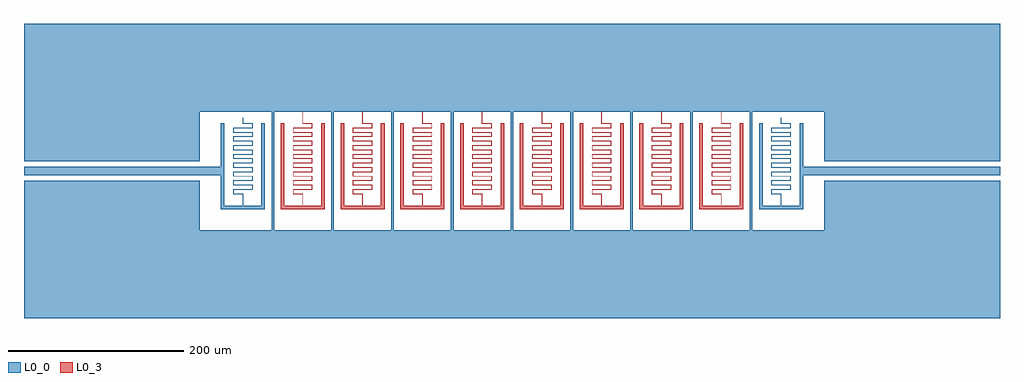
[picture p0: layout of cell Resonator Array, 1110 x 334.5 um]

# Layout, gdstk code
import gdstk
lib = gdstk.Library(unit=1e-6, precision=1e-09)
def P(c, l, *ps):  # polygons
    for p in ps: c.add(gdstk.Polygon(p, *l))
L0_0 = (0, 0)
L0_3 = (0, 3)

resonator_array = lib.new_cell('Resonator Array')
P(resonator_array, L0_0, [(793,32.25),(593,32.25),(593,-24),(511.5,-24),(511.5,110.5),(593,110.5),(593,54.25),(793,54.25),(793,210.5),(-317,210.5),(-317,54.25),(-117,54.25),(-117,110.5),(-35.5,110.5),(-35.5,-24),(-32.5,-24),(-32.5,110.5),(32.5,110.5),(32.5,-24),(35.5,-24),(35.5,110.5),(100.5,110.5),(100.5,-24),(103.5,-24),(103.5,110.5),(168.5,110.5),(168.5,-24),(171.5,-24),(171.5,110.5),(236.5,110.5),(236.5,-24),(239.5,-24),(239.5,110.5),(304.5,110.5),(304.5,-24),(307.5,-24),(307.5,110.5),(372.5,110.5),(372.5,-24),(375.5,-24),(375.5,110.5),(440.5,110.5),(440.5,-24),(443.5,-24),(443.5,110.5),(508.5,110.5),(508.5,-24),(443.5,-24),(440.5,-24),(375.5,-24),(372.5,-24),(307.5,-24),(304.5,-24),(239.5,-24),(236.5,-24),(171.5,-24),(168.5,-24),(103.5,-24),(100.5,-24),(35.5,-24),(32.5,-24),(-32.5,-24),(-35.5,-24),(-117,-24),(-117,32.25),(-317,32.25),(-317,-124),(793,-124)],
  [(-43,97.5),(-47,97.5),(-47,4),(-67.75,4),(-67.75,17.5),(-78.5,17.5),(-78.5,22),(-57,22),(-57,27.5),(-78.5,27.5),(-78.5,32),(-57,32),(-57,37.5),(-78.5,37.5),(-78.5,42),(-57,42),(-57,47.5),(-78.5,47.5),(-78.5,52),(-57,52),(-57,57.5),(-78.5,57.5),(-78.5,62),(-57,62),(-57,67.5),(-78.5,67.5),(-78.5,72),(-57,72),(-57,77.5),(-78.5,77.5),(-78.5,82),(-57,82),(-57,87.5),(-78.5,87.5),(-78.5,92),(-57,92),(-57,97.5),(-67.75,97.5),(-67.75,103.875),(-68.25,103.875),(-68.25,97),(-57.5,97),(-57.5,92.5),(-79,92.5),(-79,87),(-57.5,87),(-57.5,82.5),(-79,82.5),(-79,77),(-57.5,77),(-57.5,72.5),(-79,72.5),(-79,67),(-57.5,67),(-57.5,62.5),(-79,62.5),(-79,57),(-57.5,57),(-57.5,52.5),(-79,52.5),(-79,47),(-57.5,47),(-57.5,42.5),(-79,42.5),(-79,37),(-57.5,37),(-57.5,32.5),(-79,32.5),(-79,27),(-57.5,27),(-57.5,22.5),(-79,22.5),(-79,17),(-68.25,17),(-68.25,4),(-89,4),(-89,97.5),(-93,97.5),(-93,48.25),(-317,48.25),(-317,38.25),(-93,38.25),(-93,0),(-43,0)],
  [(569,38.25),(793,38.25),(793,48.25),(569,48.25),(569,97.5),(565,97.5),(565,4),(544.25,4),(544.25,17.5),(533.5,17.5),(533.5,22),(555,22),(555,27.5),(533.5,27.5),(533.5,32),(555,32),(555,37.5),(533.5,37.5),(533.5,42),(555,42),(555,47.5),(533.5,47.5),(533.5,52),(555,52),(555,57.5),(533.5,57.5),(533.5,62),(555,62),(555,67.5),(533.5,67.5),(533.5,72),(555,72),(555,77.5),(533.5,77.5),(533.5,82),(555,82),(555,87.5),(533.5,87.5),(533.5,92),(555,92),(555,97.5),(544.25,97.5),(544.25,103.875),(543.75,103.875),(543.75,97),(554.5,97),(554.5,92.5),(533,92.5),(533,87),(554.5,87),(554.5,82.5),(533,82.5),(533,77),(554.5,77),(554.5,72.5),(533,72.5),(533,67),(554.5,67),(554.5,62.5),(533,62.5),(533,57),(554.5,57),(554.5,52.5),(533,52.5),(533,47),(554.5,47),(554.5,42.5),(533,42.5),(533,37),(554.5,37),(554.5,32.5),(533,32.5),(533,27),(554.5,27),(554.5,22.5),(533,22.5),(533,17),(543.75,17),(543.75,4),(523,4),(523,97.5),(519,97.5),(519,0),(569,0)])
P(resonator_array, L0_3, [(-21,97.5),(-25,97.5),(-25,0),(25,0),(25,97.5),(21,97.5),(21,4),(-21,4)],
  [(-0.25,4),(0.25,4),(0.25,17.5),(-10.5,17.5),(-10.5,22),(0,22),(11,22),(11,27.5),(0,27.5),(-10.5,27.5),(-10.5,32),(0,32),(11,32),(11,37.5),(0,37.5),(-10.5,37.5),(-10.5,42),(0,42),(11,42),(11,47.5),(0,47.5),(-10.5,47.5),(-10.5,52),(0,52),(11,52),(11,57.5),(0,57.5),(-10.5,57.5),(-10.5,62),(0,62),(11,62),(11,67.5),(0,67.5),(-10.5,67.5),(-10.5,72),(0,72),(11,72),(11,77.5),(0,77.5),(-10.5,77.5),(-10.5,82),(0,82),(11,82),(11,87.5),(0,87.5),(-10.5,87.5),(-10.5,92),(0,92),(11,92),(11,97.5),(0.25,97.5),(0.25,110.5),(-0.25,110.5),(-0.25,97),(10.5,97),(10.5,92.5),(0,92.5),(-11,92.5),(-11,87),(0,87),(10.5,87),(10.5,82.5),(0,82.5),(-11,82.5),(-11,77),(0,77),(10.5,77),(10.5,72.5),(0,72.5),(-11,72.5),(-11,67),(0,67),(10.5,67),(10.5,62.5),(0,62.5),(-11,62.5),(-11,57),(0,57),(10.5,57),(10.5,52.5),(0,52.5),(-11,52.5),(-11,47),(0,47),(10.5,47),(10.5,42.5),(0,42.5),(-11,42.5),(-11,37),(0,37),(10.5,37),(10.5,32.5),(0,32.5),(-11,32.5),(-11,27),(0,27),(10.5,27),(10.5,22.5),(0,22.5),(-11,22.5),(-11,17),(-0.25,17)],
  [(47,97.5),(43,97.5),(43,0),(93,0),(93,97.5),(89,97.5),(89,4),(47,4)],
  [(67.75,4),(68.25,4),(68.25,17.5),(57.5,17.5),(57.5,22),(68,22),(79,22),(79,27.5),(68,27.5),(57.5,27.5),(57.5,32),(68,32),(79,32),(79,37.5),(68,37.5),(57.5,37.5),(57.5,42),(68,42),(79,42),(79,47.5),(68,47.5),(57.5,47.5),(57.5,52),(68,52),(79,52),(79,57.5),(68,57.5),(57.5,57.5),(57.5,62),(68,62),(79,62),(79,67.5),(68,67.5),(57.5,67.5),(57.5,72),(68,72),(79,72),(79,77.5),(68,77.5),(57.5,77.5),(57.5,82),(68,82),(79,82),(79,87.5),(68,87.5),(57.5,87.5),(57.5,92),(68,92),(79,92),(79,97.5),(68.25,97.5),(68.25,110.5),(67.75,110.5),(67.75,97),(78.5,97),(78.5,92.5),(68,92.5),(57,92.5),(57,87),(68,87),(78.5,87),(78.5,82.5),(68,82.5),(57,82.5),(57,77),(68,77),(78.5,77),(78.5,72.5),(68,72.5),(57,72.5),(57,67),(68,67),(78.5,67),(78.5,62.5),(68,62.5),(57,62.5),(57,57),(68,57),(78.5,57),(78.5,52.5),(68,52.5),(57,52.5),(57,47),(68,47),(78.5,47),(78.5,42.5),(68,42.5),(57,42.5),(57,37),(68,37),(78.5,37),(78.5,32.5),(68,32.5),(57,32.5),(57,27),(68,27),(78.5,27),(78.5,22.5),(68,22.5),(57,22.5),(57,17),(67.75,17)],
  [(115,97.5),(111,97.5),(111,0),(161,0),(161,97.5),(157,97.5),(157,4),(115,4)],
  [(135.75,4),(136.25,4),(136.25,17.5),(125.5,17.5),(125.5,22),(136,22),(147,22),(147,27.5),(136,27.5),(125.5,27.5),(125.5,32),(136,32),(147,32),(147,37.5),(136,37.5),(125.5,37.5),(125.5,42),(136,42),(147,42),(147,47.5),(136,47.5),(125.5,47.5),(125.5,52),(136,52),(147,52),(147,57.5),(136,57.5),(125.5,57.5),(125.5,62),(136,62),(147,62),(147,67.5),(136,67.5),(125.5,67.5),(125.5,72),(136,72),(147,72),(147,77.5),(136,77.5),(125.5,77.5),(125.5,82),(136,82),(147,82),(147,87.5),(136,87.5),(125.5,87.5),(125.5,92),(136,92),(147,92),(147,97.5),(136.25,97.5),(136.25,110.5),(135.75,110.5),(135.75,97),(146.5,97),(146.5,92.5),(136,92.5),(125,92.5),(125,87),(136,87),(146.5,87),(146.5,82.5),(136,82.5),(125,82.5),(125,77),(136,77),(146.5,77),(146.5,72.5),(136,72.5),(125,72.5),(125,67),(136,67),(146.5,67),(146.5,62.5),(136,62.5),(125,62.5),(125,57),(136,57),(146.5,57),(146.5,52.5),(136,52.5),(125,52.5),(125,47),(136,47),(146.5,47),(146.5,42.5),(136,42.5),(125,42.5),(125,37),(136,37),(146.5,37),(146.5,32.5),(136,32.5),(125,32.5),(125,27),(136,27),(146.5,27),(146.5,22.5),(136,22.5),(125,22.5),(125,17),(135.75,17)],
  [(183,97.5),(179,97.5),(179,0),(229,0),(229,97.5),(225,97.5),(225,4),(183,4)],
  [(203.75,4),(204.25,4),(204.25,17.5),(193.5,17.5),(193.5,22),(204,22),(215,22),(215,27.5),(204,27.5),(193.5,27.5),(193.5,32),(204,32),(215,32),(215,37.5),(204,37.5),(193.5,37.5),(193.5,42),(204,42),(215,42),(215,47.5),(204,47.5),(193.5,47.5),(193.5,52),(204,52),(215,52),(215,57.5),(204,57.5),(193.5,57.5),(193.5,62),(204,62),(215,62),(215,67.5),(204,67.5),(193.5,67.5),(193.5,72),(204,72),(215,72),(215,77.5),(204,77.5),(193.5,77.5),(193.5,82),(204,82),(215,82),(215,87.5),(204,87.5),(193.5,87.5),(193.5,92),(204,92),(215,92),(215,97.5),(204.25,97.5),(204.25,110.5),(203.75,110.5),(203.75,97),(214.5,97),(214.5,92.5),(204,92.5),(193,92.5),(193,87),(204,87),(214.5,87),(214.5,82.5),(204,82.5),(193,82.5),(193,77),(204,77),(214.5,77),(214.5,72.5),(204,72.5),(193,72.5),(193,67),(204,67),(214.5,67),(214.5,62.5),(204,62.5),(193,62.5),(193,57),(204,57),(214.5,57),(214.5,52.5),(204,52.5),(193,52.5),(193,47),(204,47),(214.5,47),(214.5,42.5),(204,42.5),(193,42.5),(193,37),(204,37),(214.5,37),(214.5,32.5),(204,32.5),(193,32.5),(193,27),(204,27),(214.5,27),(214.5,22.5),(204,22.5),(193,22.5),(193,17),(203.75,17)],
  [(251,97.5),(247,97.5),(247,0),(297,0),(297,97.5),(293,97.5),(293,4),(251,4)],
  [(271.75,4),(272.25,4),(272.25,17.5),(261.5,17.5),(261.5,22),(272,22),(283,22),(283,27.5),(272,27.5),(261.5,27.5),(261.5,32),(272,32),(283,32),(283,37.5),(272,37.5),(261.5,37.5),(261.5,42),(272,42),(283,42),(283,47.5),(272,47.5),(261.5,47.5),(261.5,52),(272,52),(283,52),(283,57.5),(272,57.5),(261.5,57.5),(261.5,62),(272,62),(283,62),(283,67.5),(272,67.5),(261.5,67.5),(261.5,72),(272,72),(283,72),(283,77.5),(272,77.5),(261.5,77.5),(261.5,82),(272,82),(283,82),(283,87.5),(272,87.5),(261.5,87.5),(261.5,92),(272,92),(283,92),(283,97.5),(272.25,97.5),(272.25,110.5),(271.75,110.5),(271.75,97),(282.5,97),(282.5,92.5),(272,92.5),(261,92.5),(261,87),(272,87),(282.5,87),(282.5,82.5),(272,82.5),(261,82.5),(261,77),(272,77),(282.5,77),(282.5,72.5),(272,72.5),(261,72.5),(261,67),(272,67),(282.5,67),(282.5,62.5),(272,62.5),(261,62.5),(261,57),(272,57),(282.5,57),(282.5,52.5),(272,52.5),(261,52.5),(261,47),(272,47),(282.5,47),(282.5,42.5),(272,42.5),(261,42.5),(261,37),(272,37),(282.5,37),(282.5,32.5),(272,32.5),(261,32.5),(261,27),(272,27),(282.5,27),(282.5,22.5),(272,22.5),(261,22.5),(261,17),(271.75,17)],
  [(319,97.5),(315,97.5),(315,0),(365,0),(365,97.5),(361,97.5),(361,4),(319,4)],
  [(339.75,4),(340.25,4),(340.25,17.5),(329.5,17.5),(329.5,22),(340,22),(351,22),(351,27.5),(340,27.5),(329.5,27.5),(329.5,32),(340,32),(351,32),(351,37.5),(340,37.5),(329.5,37.5),(329.5,42),(340,42),(351,42),(351,47.5),(340,47.5),(329.5,47.5),(329.5,52),(340,52),(351,52),(351,57.5),(340,57.5),(329.5,57.5),(329.5,62),(340,62),(351,62),(351,67.5),(340,67.5),(329.5,67.5),(329.5,72),(340,72),(351,72),(351,77.5),(340,77.5),(329.5,77.5),(329.5,82),(340,82),(351,82),(351,87.5),(340,87.5),(329.5,87.5),(329.5,92),(340,92),(351,92),(351,97.5),(340.25,97.5),(340.25,110.5),(339.75,110.5),(339.75,97),(350.5,97),(350.5,92.5),(340,92.5),(329,92.5),(329,87),(340,87),(350.5,87),(350.5,82.5),(340,82.5),(329,82.5),(329,77),(340,77),(350.5,77),(350.5,72.5),(340,72.5),(329,72.5),(329,67),(340,67),(350.5,67),(350.5,62.5),(340,62.5),(329,62.5),(329,57),(340,57),(350.5,57),(350.5,52.5),(340,52.5),(329,52.5),(329,47),(340,47),(350.5,47),(350.5,42.5),(340,42.5),(329,42.5),(329,37),(340,37),(350.5,37),(350.5,32.5),(340,32.5),(329,32.5),(329,27),(340,27),(350.5,27),(350.5,22.5),(340,22.5),(329,22.5),(329,17),(339.75,17)],
  [(387,97.5),(383,97.5),(383,0),(433,0),(433,97.5),(429,97.5),(429,4),(387,4)],
  [(407.75,4),(408.25,4),(408.25,17.5),(397.5,17.5),(397.5,22),(408,22),(419,22),(419,27.5),(408,27.5),(397.5,27.5),(397.5,32),(408,32),(419,32),(419,37.5),(408,37.5),(397.5,37.5),(397.5,42),(408,42),(419,42),(419,47.5),(408,47.5),(397.5,47.5),(397.5,52),(408,52),(419,52),(419,57.5),(408,57.5),(397.5,57.5),(397.5,62),(408,62),(419,62),(419,67.5),(408,67.5),(397.5,67.5),(397.5,72),(408,72),(419,72),(419,77.5),(408,77.5),(397.5,77.5),(397.5,82),(408,82),(419,82),(419,87.5),(408,87.5),(397.5,87.5),(397.5,92),(408,92),(419,92),(419,97.5),(408.25,97.5),(408.25,110.5),(407.75,110.5),(407.75,97),(418.5,97),(418.5,92.5),(408,92.5),(397,92.5),(397,87),(408,87),(418.5,87),(418.5,82.5),(408,82.5),(397,82.5),(397,77),(408,77),(418.5,77),(418.5,72.5),(408,72.5),(397,72.5),(397,67),(408,67),(418.5,67),(418.5,62.5),(408,62.5),(397,62.5),(397,57),(408,57),(418.5,57),(418.5,52.5),(408,52.5),(397,52.5),(397,47),(408,47),(418.5,47),(418.5,42.5),(408,42.5),(397,42.5),(397,37),(408,37),(418.5,37),(418.5,32.5),(408,32.5),(397,32.5),(397,27),(408,27),(418.5,27),(418.5,22.5),(408,22.5),(397,22.5),(397,17),(407.75,17)],
  [(455,97.5),(451,97.5),(451,0),(501,0),(501,97.5),(497,97.5),(497,4),(455,4)],
  [(475.75,4),(476.25,4),(476.25,17.5),(465.5,17.5),(465.5,22),(476,22),(487,22),(487,27.5),(476,27.5),(465.5,27.5),(465.5,32),(476,32),(487,32),(487,37.5),(476,37.5),(465.5,37.5),(465.5,42),(476,42),(487,42),(487,47.5),(476,47.5),(465.5,47.5),(465.5,52),(476,52),(487,52),(487,57.5),(476,57.5),(465.5,57.5),(465.5,62),(476,62),(487,62),(487,67.5),(476,67.5),(465.5,67.5),(465.5,72),(476,72),(487,72),(487,77.5),(476,77.5),(465.5,77.5),(465.5,82),(476,82),(487,82),(487,87.5),(476,87.5),(465.5,87.5),(465.5,92),(476,92),(487,92),(487,97.5),(476.25,97.5),(476.25,110.5),(475.75,110.5),(475.75,97),(486.5,97),(486.5,92.5),(476,92.5),(465,92.5),(465,87),(476,87),(486.5,87),(486.5,82.5),(476,82.5),(465,82.5),(465,77),(476,77),(486.5,77),(486.5,72.5),(476,72.5),(465,72.5),(465,67),(476,67),(486.5,67),(486.5,62.5),(476,62.5),(465,62.5),(465,57),(476,57),(486.5,57),(486.5,52.5),(476,52.5),(465,52.5),(465,47),(476,47),(486.5,47),(486.5,42.5),(476,42.5),(465,42.5),(465,37),(476,37),(486.5,37),(486.5,32.5),(476,32.5),(465,32.5),(465,27),(476,27),(486.5,27),(486.5,22.5),(476,22.5),(465,22.5),(465,17),(475.75,17)])

lib.write_gds('Resonator_Array.gds')
